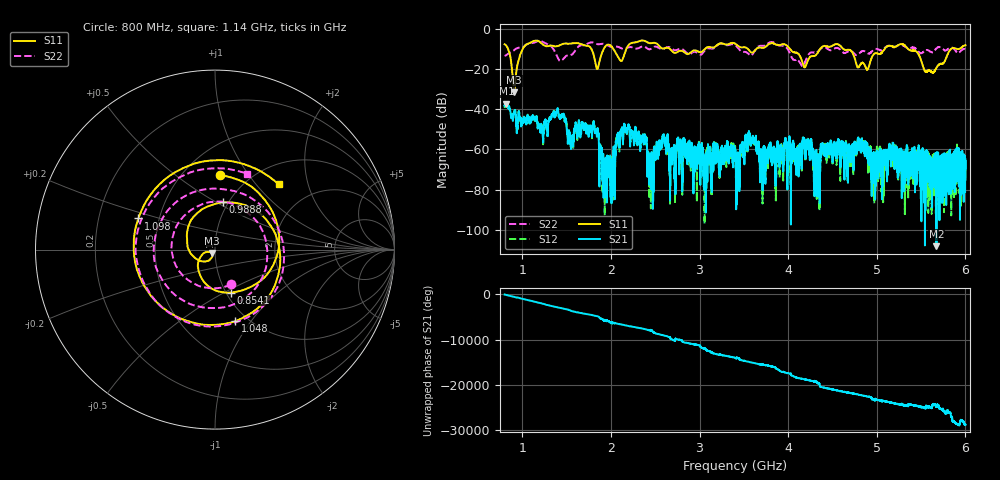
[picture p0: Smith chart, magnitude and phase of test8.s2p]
!Keysight Technologies N9923A: A.08.15
!Date: Friday, 16 February 2024 23:08:55
!Timezone: (GMT-05:00) Eastern Time (US & Canada)
!Model: N9923A
!Serial: MY52412730
!GPS Latitude:
!GPS Longitude:
!GPS TimeStamp: 0001-01-01 00:00:00Z
!GPS Seconds Since Last Read: 0
!CHECKSUM:1136096852
!Correction: S11(ON Q)S21(ON Q)S12(ON Q)S22(ON Q)
!S2P File: Measurements:S11,S21,S12,S22:
# Hz S DB R 50
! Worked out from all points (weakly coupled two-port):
!   10001 points, 800 MHz to 6 GHz, reference 50 ohm
!   highest |S21| = -37.13 dB at 821.3 MHz (marker M1); lowest = -108.1 dB at 5.673 GHz (marker M2)
!   lowest |S11| = -31.6 dB at 908.2 MHz (marker M3), VSWR 1.05, Z = 48.1 - j1.8 ohm
!   |S11| at or under -10 dB: 2.668 GHz to 3.059 GHz (391.4 MHz wide, 13.7 % of centre); 4.624 GHz to 5.087 GHz (462.4 MHz wide, 9.52 % of centre); 5.355 GHz to 5.838 GHz (483 MHz wide, 8.63 % of centre) (the widest 3 of 13)
!   |S22| runs from -18.6 to -5.9 dB; largest |S21 - S12| = 0.0012
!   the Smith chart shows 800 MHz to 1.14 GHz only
!   S11 on the Smith chart (normalised r, x): 800 MHz: 0.74, +0.74; 854.1 MHz: 1.06, -0.54; 988.8 MHz: 0.95, +0.54; 1.048 GHz: 0.87, -0.84; 1.098 GHz: 0.38, +0.17; 1.14 GHz: 1.36, +1.33
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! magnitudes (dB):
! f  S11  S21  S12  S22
! 800 MHz  -7.6  -38.1  -38.6  -13.5
! 821.3 MHz  -8.5  -37.1  -37.5  -13.0
! 854.1 MHz  -11.8  -39.3  -39.5  -11.9
! 908.2 MHz  -31.6  -41.7  -41.2  -10.5
! 988.8 MHz  -11.5  -47.6  -47.2  -9.3
! 1.048 GHz  -7.6  -46.2  -46.6  -7.7
! 1.098 GHz  -6.7  -46.2  -46.2  -7.1
! 1.14 GHz  -5.9  -44.0  -44.7  -6.8
! 1.667 GHz  -7.6  -48.0  -47.8  -8.1
! 1.828 GHz  -17.6  -51.1  -51.6  -7.4
! 1.929 GHz  -9.1  -70.4  -71.1  -7.5
! 2.172 GHz  -10.1  -49.6  -49.8  -9.7
! 2.379 GHz  -5.9  -53.0  -54.0  -8.8
! 2.456 GHz  -7.1  -67.0  -74.8  -9.8
! 2.534 GHz  -7.9  -61.0  -59.8  -9.3
! 3.4 GHz  -7.3  -61.4  -62.7  -8.0
! 3.574 GHz  -11.4  -56.3  -56.7  -13.1
! 3.697 GHz  -9.3  -63.7  -67.0  -8.4
! 4.267 GHz  -13.5  -60.5  -60.3  -11.6
! 5.134 GHz  -8.4  -60.3  -60.4  -8.3
! 5.673 GHz  -19.3  -108.1  -71.9  -9.7
! 6 GHz  -8.1  -69.4  -71.1  -10.1
